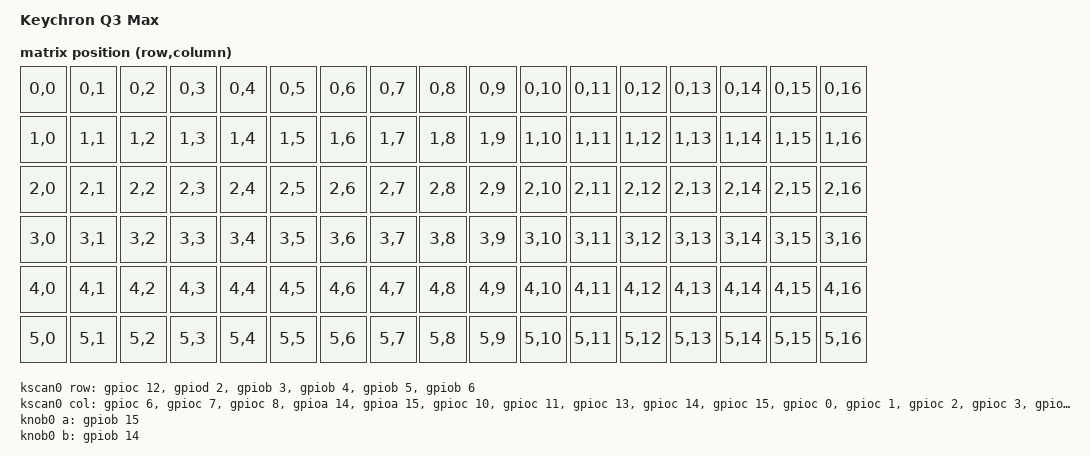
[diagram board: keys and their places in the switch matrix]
/dts-v1/;
#include <st/f4/stm32f401Xc.dtsi>
#include <st/f4/stm32f401c(b-c)ux-pinctrl.dtsi>
#include <zephyr/dt-bindings/input/input-event-codes.h>
#include <dt-bindings/zmk/matrix_transform.h>

/ {
    model = "Keychron Q3 Max";
    compatible = "keychron_q3_max";

    chosen {
        zephyr,console = &cdc_acm_uart0;
        zephyr,shell-uart = &cdc_acm_uart0;
        zephyr,sram = &sram0;
        zephyr,flash = &flash0;
        zephyr,boot-mode = &retention0;
    };

    sram@2000ffff {
        compatible = "zephyr,memory-region", "mmio-sram";
        reg = <0x2000ffff 1>;
        zephyr,memory-region = "RetainedMem";
        status = "okay";

        retainedmem0: retainedmem {
            compatible = "zephyr,retained-ram";
            status = "okay";
            #address-cells = <1>;
            #size-cells = <1>;

            retention0: retention@0 {
                compatible = "zephyr,retention";
                status = "okay";
                reg = <0x0 0x1>;
            };
        };
    };

    soc {
        rom_bootloader: rom_bootloader@1fff0000 {
            compatible = "st,stm32-bootloader";
            reg = <0x1fff0000 DT_SIZE_K(29)>;
            status = "okay";
        };
    };

    chosen {
        zmk,physical-layout = &physical_layout0;
    };

    kscan0: kscan0 {
        compatible = "zmk,kscan-gpio-matrix";
        diode-direction = "row2col";
        wakeup-source;

        col-gpios = <&gpioc 6 (GPIO_ACTIVE_HIGH | GPIO_PULL_DOWN)>,
                    <&gpioc 7 (GPIO_ACTIVE_HIGH | GPIO_PULL_DOWN)>,
                    <&gpioc 8 (GPIO_ACTIVE_HIGH | GPIO_PULL_DOWN)>,
                    <&gpioa 14 (GPIO_ACTIVE_HIGH | GPIO_PULL_DOWN)>,
                    <&gpioa 15 (GPIO_ACTIVE_HIGH | GPIO_PULL_DOWN)>,
                    <&gpioc 10 (GPIO_ACTIVE_HIGH | GPIO_PULL_DOWN)>,
                    <&gpioc 11 (GPIO_ACTIVE_HIGH | GPIO_PULL_DOWN)>,
                    <&gpioc 13 (GPIO_ACTIVE_HIGH | GPIO_PULL_DOWN)>,
                    <&gpioc 14 (GPIO_ACTIVE_HIGH | GPIO_PULL_DOWN)>,
                    <&gpioc 15 (GPIO_ACTIVE_HIGH | GPIO_PULL_DOWN)>,
                    <&gpioc 0 (GPIO_ACTIVE_HIGH | GPIO_PULL_DOWN)>,
                    <&gpioc 1 (GPIO_ACTIVE_HIGH | GPIO_PULL_DOWN)>,
                    <&gpioc 2 (GPIO_ACTIVE_HIGH | GPIO_PULL_DOWN)>,
                    <&gpioc 3 (GPIO_ACTIVE_HIGH | GPIO_PULL_DOWN)>,
                    <&gpioa 0 (GPIO_ACTIVE_HIGH | GPIO_PULL_DOWN)>,
                    <&gpioa 1 (GPIO_ACTIVE_HIGH | GPIO_PULL_DOWN)>,
                    <&gpioa 2 (GPIO_ACTIVE_HIGH | GPIO_PULL_DOWN)>;

        row-gpios = <&gpioc 12 GPIO_ACTIVE_HIGH>,
                    <&gpiod 2  GPIO_ACTIVE_HIGH>,
                    <&gpiob 3  GPIO_ACTIVE_HIGH>,
                    <&gpiob 4  GPIO_ACTIVE_HIGH>,
                    <&gpiob 5  GPIO_ACTIVE_HIGH>,
                    <&gpiob 6  GPIO_ACTIVE_HIGH>;
    };

    default_transform: keymap_transform0 {
        compatible = "zmk,matrix-transform";
        columns = <17>;
        rows = <6>;

        map = <
            RC(0,0) RC(0,1) RC(0,2) RC(0,3) RC(0,4) RC(0,5) RC(0,6) RC(0,7) RC(0,8) RC(0,9) RC(0,10) RC(0,11) RC(0,12) RC(0,13) RC(0,14) RC(0,15) RC(0,16)
            RC(1,0) RC(1,1) RC(1,2) RC(1,3) RC(1,4) RC(1,5) RC(1,6) RC(1,7) RC(1,8) RC(1,9) RC(1,10) RC(1,11) RC(1,12) RC(1,13) RC(1,14) RC(1,15) RC(1,16)
            RC(2,0) RC(2,1) RC(2,2) RC(2,3) RC(2,4) RC(2,5) RC(2,6) RC(2,7) RC(2,8) RC(2,9) RC(2,10) RC(2,11) RC(2,12) RC(2,13) RC(2,14) RC(2,15) RC(2,16)
            RC(3,0) RC(3,1) RC(3,2) RC(3,3) RC(3,4) RC(3,5) RC(3,6) RC(3,7) RC(3,8) RC(3,9) RC(3,10) RC(3,11) RC(3,12) RC(3,13) RC(3,14) RC(3,15) RC(3,16)
            RC(4,0) RC(4,1) RC(4,2) RC(4,3) RC(4,4) RC(4,5) RC(4,6) RC(4,7) RC(4,8) RC(4,9) RC(4,10) RC(4,11) RC(4,12) RC(4,13) RC(4,14) RC(4,15) RC(4,16)
            RC(5,0) RC(5,1) RC(5,2) RC(5,3) RC(5,4) RC(5,5) RC(5,6) RC(5,7) RC(5,8) RC(5,9) RC(5,10) RC(5,11) RC(5,12) RC(5,13) RC(5,14) RC(5,15) RC(5,16)
        >;
    };

    physical_layout0: physical_layout_0 {
        compatible = "zmk,physical-layout";
        display-name = "Default Layout";
        kscan = <&kscan0>;
        transform = <&default_transform>;
    };

    sensors: sensors {
        compatible = "zmk,keymap-sensors";
        sensors = <&knob0>;
        triggers-per-rotation = <20>;
        status = "okay";
    };

    knob0: knob {
        compatible = "alps,ec11";
        a-gpios = <&gpiob 15 GPIO_ACTIVE_HIGH>;
        b-gpios = <&gpiob 14 GPIO_ACTIVE_HIGH>;
        steps = <80>;
        status = "okay";
    };
};

zephyr_udc0: &usbotg_fs {
    pinctrl-0 = <&usb_otg_fs_dm_pa11 &usb_otg_fs_dp_pa12>;
    pinctrl-names = "default";
    status = "okay";
};

&clk_lsi {
    status = "okay";
};

&clk_hse {
    clock-frequency = <DT_FREQ_M(16)>;
    status = "okay";
};

&pll {
    div-m = <8>;
    mul-n = <96>;
    div-p = <4>;
    div-q = <4>;
    clocks = <&clk_hse>;
    status = "okay";
};

&rcc {
    clocks = <&pll>;
    clock-frequency = <DT_FREQ_M(48)>;
    ahb-prescaler = <1>;
    apb1-prescaler = <2>;
    apb2-prescaler = <1>;
};

&zephyr_udc0 {
    cdc_acm_uart0: cdc_acm_uart0 {
        compatible = "zephyr,cdc-acm-uart";
    };
};

&sram0 {
    reg = <0x20000000 (DT_SIZE_K(64) - 1)>;
};
